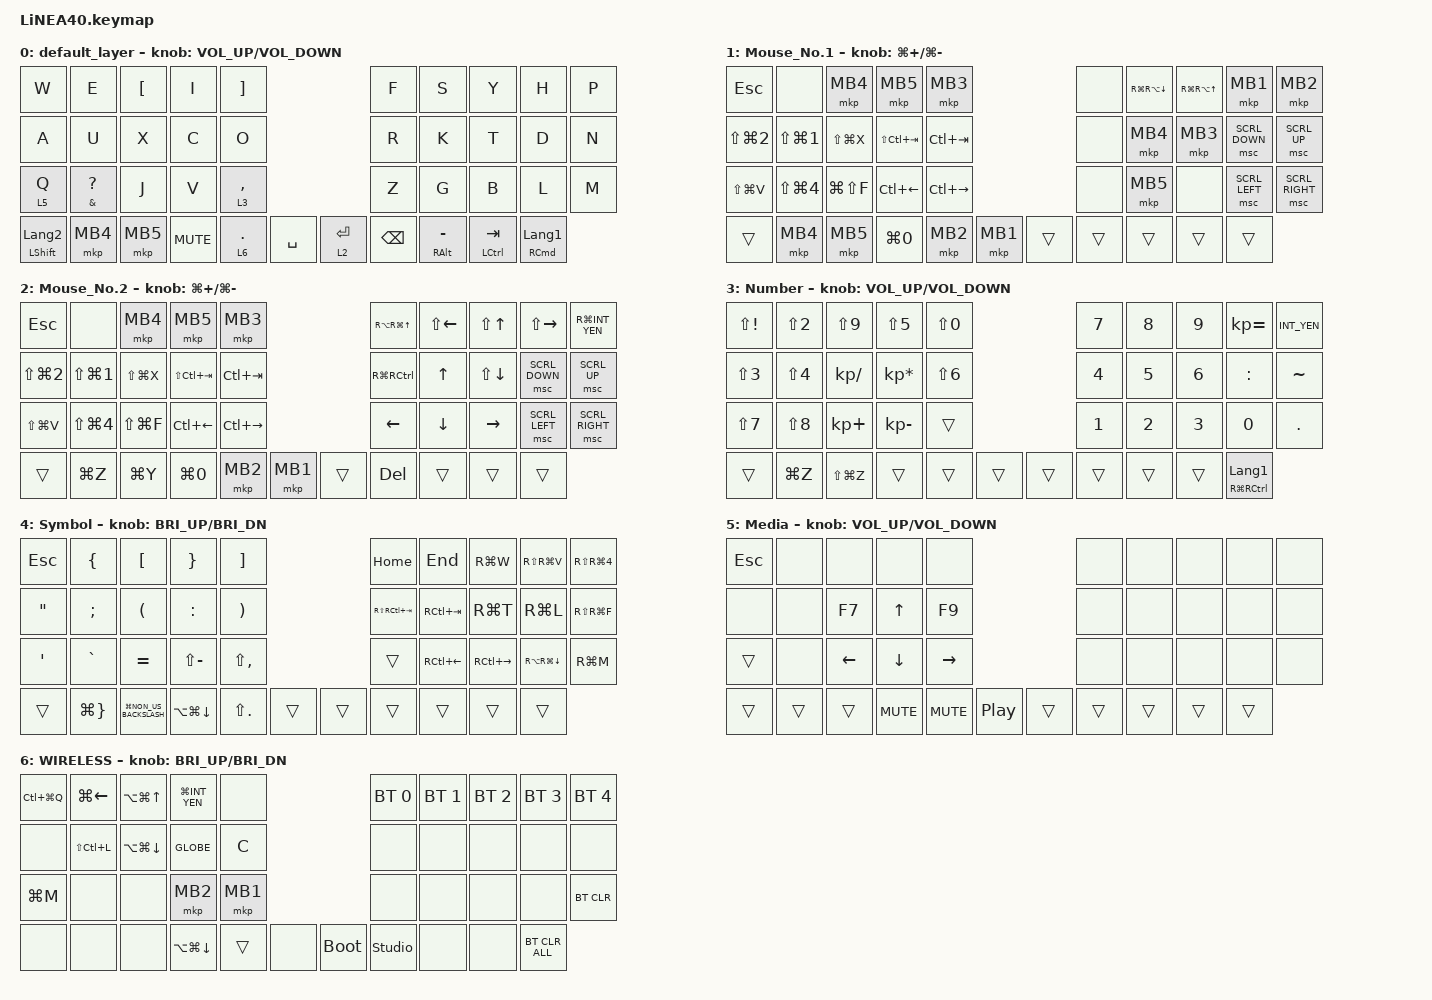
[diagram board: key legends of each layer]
#define ZMK_POINTING_DEFAULT_SCRL_VAL 10

#include <dt-bindings/zmk/input_transform.h>
#include <input/processors.dtsi>
#include <zephyr/dt-bindings/input/input-event-codes.h>
#include <behaviors.dtsi>
#include <dt-bindings/zmk/bt.h>
#include <dt-bindings/zmk/keys.h>
#include <dt-bindings/zmk/pointing.h>

#define MOUSE 1
#define MARK 2
#define CURSOR 3
#define FUNCTION 4
#define SCROLL 5
#define WIRELESS 6

//mouse cursol

&mmv {
    delay-ms = <20>;
    trigger-period-ms = <5>;
    time-to-max-speed-ms = <100>;
    acceleration-exponent = <2>;
};

//mouse scroll

&msc {
    delay-ms = <3>;
    trigger-period-ms = <3>;
    time-to-max-speed-ms = <100>;
    acceleration-exponent = <0>;
};

/ {
    input_processors {
        zip_wheel_scaler: zip_wheel_scaler {
            compatible = "zmk,input-processor-scaler";
            #input-processor-cells = <2>;
            type = <INPUT_EV_REL>;
            codes = <INPUT_REL_WHEEL>;
            track-remainders;
        };
    };
};

&msc_input_listener {
    speed_up {
        layers = <FUNCTION>;
        input-processors = <&zip_wheel_scaler 1 3>; //スクロールを1/3倍速にする
    };
};

&trackball_listener {
    scroller {
        layers = <SCROLL>;
        input-processors =
            <&zip_xy_transform INPUT_TRANSFORM_Y_INVERT>,
            //スクロール方向を逆転,,,,,,,,,,,,,,,,,,,,,,
            <&zip_xy_to_scroll_mapper>;
    };
};

/ {
    combos {
        compatible = "zmk,combos";

        Layer4 {
            bindings = <&mo 4>;
            key-positions = <37 25>;
        };

        to_Layer1 {
            bindings = <&to 0>;
            key-positions = <14 15>;
        };
    };

    behaviors {
        re_kp: sensor_rotate_kp {
            compatible = "zmk,behavior-sensor-rotate-var";
            #sensor-binding-cells = <2>;
            bindings = <&kp>, <&kp>;
        };

        mouse_scrl: mouse_wheel_scrl {
            compatible = "zmk,behavior-sensor-rotate-var";
            #sensor-binding-cells = <2>;
            bindings = <&msc>, <&msc>;

            tap-ms = <20>;
        };

        Hold_Layers_Tap_MB_behavior: Hold_Layers_Tap_MB_behavior {
            compatible = "zmk,behavior-hold-tap";
            label = "HOLD_LAYERS_TAP_MB_BEHAVIOR";
            #binding-cells = <2>;
            bindings = <&to>, <&mkp>;

            tapping-term-ms = <190>;
        };

        toggle_behavior: toggle_behavior {
            compatible = "zmk,behavior-key-toggle";
            label = "TOGGLE_BEHAVIOR";
            #binding-cells = <1>;
        };
    };

    keymap {
        compatible = "zmk,keymap";

        default_layer {
            bindings = <
&kp W                      &kp E                   &kp LEFT_BRACKET  &kp I       &kp RIGHT_BRACKET                            &kp F          &kp S  &kp Y                &kp H          &kp P
&kp A                      &kp U                   &kp X             &kp C       &kp O                                        &kp R          &kp K  &kp T                &kp D          &kp N
&lt 5 Q                    &mt AMPERSAND QUESTION  &kp J             &kp V       &lt 3 COMMA                                  &kp Z          &kp G  &kp B                &kp L          &kp M
&mt LEFT_SHIFT LANGUAGE_2  &mkp MB4                &mkp MB5          &kp C_MUTE  &lt 6 PERIOD       &kp SPACE    &lt 2 ENTER  &kp BACKSPACE         &mt RIGHT_ALT MINUS  &mt LCTRL TAB  &mt RIGHT_COMMAND LANGUAGE_1
            >;

            sensor-bindings = <&re_kp C_VOLUME_UP C_VOLUME_DOWN>;
        };

        Mouse_No.1 {
            bindings = <
&kp ESCAPE            &none                 &mkp MB4       &mkp MB5          &mkp MB3                           &none   &kp RG(RA(DOWN))  &kp RG(RA(UP))  &mkp MB1        &mkp MB2
&kp LS(LG(NUMBER_2))  &kp LS(LG(NUMBER_1))  &kp LS(LG(X))  &kp LS(LC(TAB))   &kp LC(TAB)                        &none   &mkp MB4          &mkp MB3        &msc SCRL_DOWN  &msc SCRL_UP
&kp LS(LG(V))         &kp LS(LG(NUMBER_4))  &kp LG(LS(F))  &kp LC(LEFT)      &kp LC(RIGHT)                      &none   &mkp MB5          &none           &msc SCRL_LEFT  &msc SCRL_RIGHT
&trans                &mkp MB4              &mkp MB5       &kp LG(NUMBER_0)  &mkp MB2       &mkp MB1    &trans  &trans                    &trans          &trans          &trans
            >;

            sensor-bindings = <&re_kp LG(PLUS) LG(MINUS)>;
        };

        Mouse_No.2 {
            bindings = <
&kp ESCAPE            &none                 &mkp MB4       &mkp MB5          &mkp MB3                           &kp RA(RG(UP))         &kp LS(LEFT)  &kp LS(UP)    &kp LS(RIGHT)   &kp RG(INT_YEN)
&kp LS(LG(NUMBER_2))  &kp LS(LG(NUMBER_1))  &kp LS(LG(X))  &kp LS(LC(TAB))   &kp LC(TAB)                        &kp RG(RIGHT_CONTROL)  &kp UP        &kp LS(DOWN)  &msc SCRL_DOWN  &msc SCRL_UP
&kp LS(LG(V))         &kp LS(LG(NUMBER_4))  &kp LS(LG(F))  &kp LC(LEFT)      &kp LC(RIGHT)                      &kp LEFT               &kp DOWN      &kp RIGHT     &msc SCRL_LEFT  &msc SCRL_RIGHT
&trans                &kp LG(Z)             &kp LG(Y)      &kp LG(NUMBER_0)  &mkp MB2       &mkp MB1    &trans  &kp DELETE                           &trans        &trans          &trans
            >;

            sensor-bindings = <&re_kp LG(PLUS) LG(MINUS)>;
        };

        Number {
            bindings = <
&kp LS(EXCLAMATION)  &kp LS(NUMBER_2)  &kp LS(N9)     &kp LS(N5)       &kp LS(N0)                          &kp NUMBER_7  &kp NUMBER_8  &kp NUMBER_9  &kp KP_EQUAL  &kp INT_YEN
&kp LS(NUMBER_3)     &kp LS(NUMBER_4)  &kp KP_DIVIDE  &kp KP_ASTERISK  &kp LS(NUMBER_6)                    &kp NUMBER_4  &kp N5        &kp NUMBER_6  &kp COLON     &kp TILDE
&kp LS(N7)           &kp LS(N8)        &kp KP_PLUS    &kp KP_MINUS     &trans                              &kp NUMBER_1  &kp NUMBER_2  &kp NUMBER_3  &kp NUMBER_0  &kp DOT
&trans               &kp LG(Z)         &kp LS(LG(Z))  &trans           &trans            &trans    &trans  &trans                      &trans        &trans        &mt RG(RIGHT_CONTROL) LANGUAGE_1
            >;

            sensor-bindings = <&re_kp C_VOLUME_UP C_VOLUME_DOWN>;
        };

        Symbol {
            bindings = <
&kp ESCAPE         &kp LEFT_BRACE       &kp LEFT_BRACKET          &kp RIGHT_BRACE   &kp RIGHT_BRACKET                        &kp HOME         &kp END       &kp RG(W)      &kp RS(RG(V))     &kp RS(RG(NUMBER_4))
&kp DOUBLE_QUOTES  &kp SEMICOLON        &kp LEFT_PARENTHESIS      &kp COLON         &kp RIGHT_PARENTHESIS                    &kp RS(RC(TAB))  &kp RC(TAB)   &kp RG(T)      &kp RG(L)         &kp RS(RG(F))
&kp SQT            &kp GRAVE            &kp EQUAL                 &kp LS(MINUS)     &kp LS(COMMA)                            &trans           &kp RC(LEFT)  &kp RC(RIGHT)  &kp RA(RG(DOWN))  &kp RG(M)
&trans             &kp LG(RIGHT_BRACE)  &kp LG(NON_US_BACKSLASH)  &kp LA(LG(DOWN))  &kp LS(PERIOD)         &trans    &trans  &trans                         &trans         &trans            &trans
            >;

            sensor-bindings = <&re_kp C_BRI_UP C_BRI_DN>;
        };

        Media {
            bindings = <
&kp ESCAPE  &none   &none     &none       &none                                   &none   &none  &none   &none   &none
&none       &none   &kp F7    &kp UP      &kp F9                                  &none   &none  &none   &none   &none
&trans      &none   &kp LEFT  &kp DOWN    &kp RIGHT                               &none   &none  &none   &none   &none
&trans      &trans  &trans    &kp C_MUTE  &kp C_MUTE  &kp C_PLAY_PAUSE    &trans  &trans         &trans  &trans  &trans
            >;

            sensor-bindings = <&re_kp C_VOLUME_UP C_VOLUME_DOWN>;
        };

        WIRELESS {
            bindings = <
&kp LC(LG(Q))  &kp LG(LEFT)   &kp LA(LG(UP))    &kp LG(INT_YEN)   &none                           &bt BT_SEL 0    &bt BT_SEL 1  &bt BT_SEL 2  &bt BT_SEL 3  &bt BT_SEL 4
&none          &kp LS(LC(L))  &kp LA(LG(DOWN))  &kp GLOBE         &kp C                           &none           &none         &none         &none         &none
&kp LG(M)      &none          &none             &mkp MB2          &mkp MB1                        &none           &none         &none         &none         &bt BT_CLR
&none          &none          &none             &kp LA(LG(DOWN))  &trans    &none    &bootloader  &studio_unlock                &none         &none         &bt BT_CLR_ALL
            >;

            sensor-bindings = <&re_kp C_BRI_UP C_BRI_DN>;
        };
    };
};
